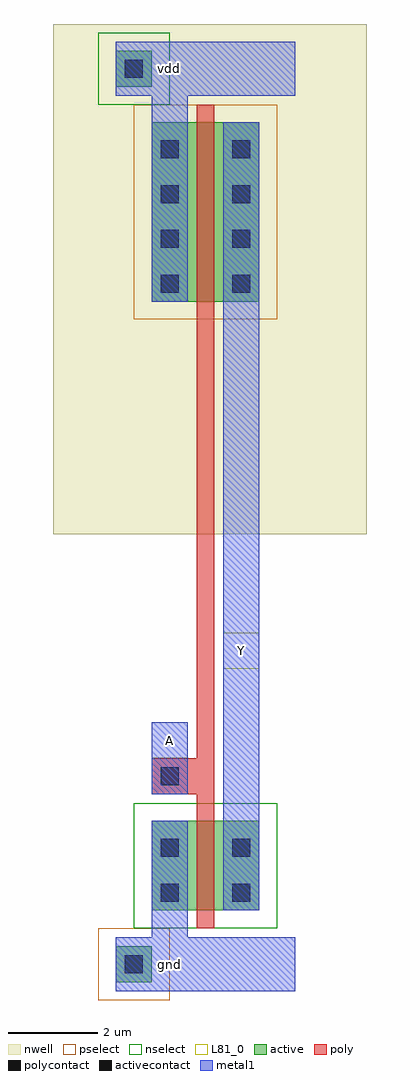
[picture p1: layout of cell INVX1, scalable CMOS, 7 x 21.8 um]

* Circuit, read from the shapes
.subckt INVX1 A Y gnd vdd
M1 Y A gnd gnd nfet w=2u l=0.4u
M2 Y A vdd vdd pfet w=4u l=0.4u
.ends

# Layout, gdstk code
import gdstk
lib = gdstk.Library(unit=1e-6, precision=1e-09)
def R(c, l, rs):  # rectangles x0, y0, x1, y1
    for r in rs: c.add(gdstk.rectangle(r[:2], r[2:], *l))
def A(c, l, x, y, w, h, nx, ny, dx, dy):  # array of equal rectangles
    R(c, l, [(x+i*dx, y+j*dy, x+i*dx+w, y+j*dy+h) for i in range(nx) for j in range(ny)])
nwell = (42, 0)
active = (43, 0)
pselect = (44, 0)
nselect = (45, 0)
poly = (46, 0)
polycontact = (47, 0)
activecontact = (48, 0)
metal1 = (49, 0)
L81_0 = (81, 0)

invx1 = lib.new_cell('INVX1')
R(invx1, nwell, [(-1.8,9.6,5.2,21)])
R(invx1, active, [(-0.4,-0.4,0.4,0.4), (0.4,1.2,2.8,3.2), (0.4,14.8,2.8,18.8), (-0.4,19.6,0.4,20.4)])
R(invx1, pselect, [(-0.8,-0.8,0.8,0.8), (0,14.4,3.2,19.2)])
R(invx1, nselect, [(0,0.8,3.2,3.6), (-0.8,19.2,0.8,20.8)])
R(invx1, poly, [(1.4,0.8,1.8,3.8), (0.4,3.8,1.8,4.6), (1.4,4.6,1.8,19.2)])
R(invx1, polycontact, [(0.6,4,1,4.4)])
A(invx1, activecontact, 0.6, 15, 0.4, 0.4, 1, 4, 0, 1)
A(invx1, activecontact, 2.2, 15, 0.4, 0.4, 1, 4, 0, 1)
R(invx1, activecontact, [(-0.2,-0.2,0.2,0.2), (0.6,1.4,1,1.8), (2.2,1.4,2.6,1.8), (0.6,2.4,1,2.8), (2.2,2.4,2.6,2.8), (-0.2,19.8,0.2,20.2)])
R(invx1, metal1, [(-0.4,-0.6,3.6,0.6), (0.4,0.6,1.2,3.2), (2,1.2,2.8,18.8), (0.4,3.8,1.2,5.4), (0.4,14.8,1.2,19.4), (-0.4,19.4,3.6,20.6)])
R(invx1, L81_0, [(0.4,4.6,1.2,5.4), (2,6.6,2.8,7.4)])
invx1.add(gdstk.Label('A', (0.8,5), layer=109, texttype=0))
invx1.add(gdstk.Label('Y', (2.4,7), layer=109, texttype=0))
invx1.add(gdstk.Label('vdd', (0.8,20), layer=109, texttype=0))
invx1.add(gdstk.Label('gnd', (0.8,0), layer=109, texttype=0))

lib.write_gds('INVX1.gds')
